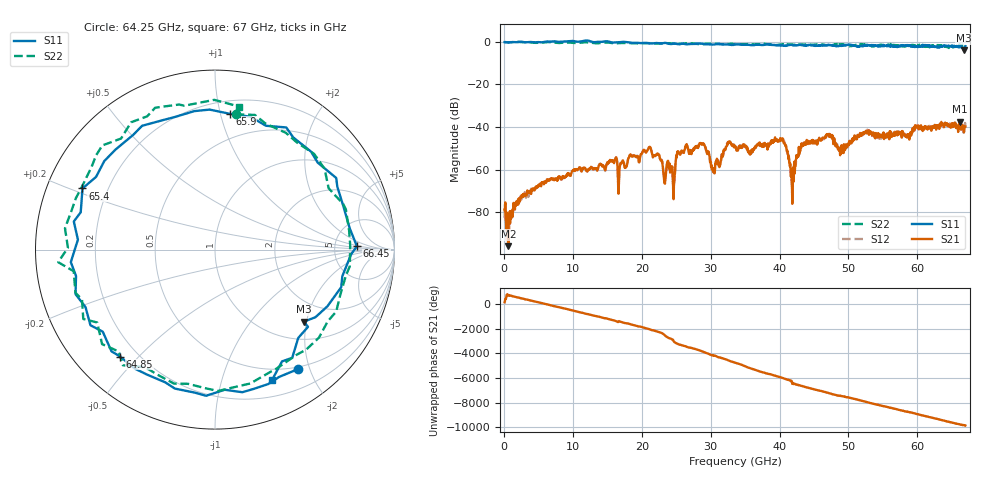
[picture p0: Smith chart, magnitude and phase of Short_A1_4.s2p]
#  HZ  S  MA  R  50.00
! Rohde & Schwarz ZVA67 4Ports - Version 4.11 - 1305.7002k04 SN: 101051
! Date: 2023-05-31 11:10:56
! Measurements: S11 S21 S12 S22
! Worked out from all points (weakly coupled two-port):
!   1340 points, 50 MHz to 67 GHz, reference 50 ohm
!   highest |S21| = -37.46 dB at 66.15 GHz (marker M1); lowest = -96.0 dB at 600 MHz (marker M2)
!   lowest |S11| = -3.9 dB at 66.75 GHz (marker M3), VSWR 4.52, Z = 71.5 - j96.7 ohm
!   |S11| at or under -10 dB: nowhere
!   |S22| runs from -2.9 to 0.0 dB; largest |S21 - S12| = 0.0042
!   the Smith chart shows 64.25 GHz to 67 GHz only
!   S11 on the Smith chart (normalised r, x): 64.25 GHz: 0.47, -1.82; 64.85 GHz: 0.14, -0.44; 65.4 GHz: 0.11, +0.22; 65.9 GHz: 0.30, +1.07; 66.45 GHz: 8.49, +0.83; 67 GHz: 0.37, -1.46
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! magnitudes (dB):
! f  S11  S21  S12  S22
! 50 MHz  -0.1  -78.7  -82.7  0.0
! 600 MHz  -0.3  -96.0  -89.9  -0.2
! 11.25 GHz  0.3  -60.9  -60.5  -0.3
! 22.4 GHz  -0.6  -52.7  -52.7  -0.8
! 24.55 GHz  -0.8  -68.4  -72.1  -0.8
! 26.4 GHz  -1.0  -48.4  -48.7  -0.6
! 28.85 GHz  -0.9  -47.7  -47.6  -1.1
! 30.35 GHz  -1.2  -61.2  -61.0  -0.8
! 33.55 GHz  -1.2  -49.0  -49.5  -1.0
! 40.4 GHz  -1.6  -45.3  -45.5  -1.1
! 41.9 GHz  -1.4  -66.1  -65.3  -1.2
! 43.1 GHz  -1.5  -49.8  -49.6  -1.3
! 44.7 GHz  -1.5  -47.0  -47.0  -1.4
! 55.85 GHz  -1.7  -43.7  -43.7  -1.5
! 64.25 GHz  -1.8  -38.8  -38.6  -2.4
! 64.85 GHz  -2.0  -40.3  -39.4  -2.4
! 65.4 GHz  -1.8  -38.8  -39.3  -2.2
! 65.9 GHz  -2.4  -39.9  -39.3  -2.2
! 66.15 GHz  -2.3  -37.5  -38.9  -1.1
! 66.45 GHz  -2.0  -38.7  -38.5  -1.6
! 66.75 GHz  -3.9  -39.7  -42.7  -1.3
! 67 GHz  -2.0  -39.8  -39.8  -1.9
